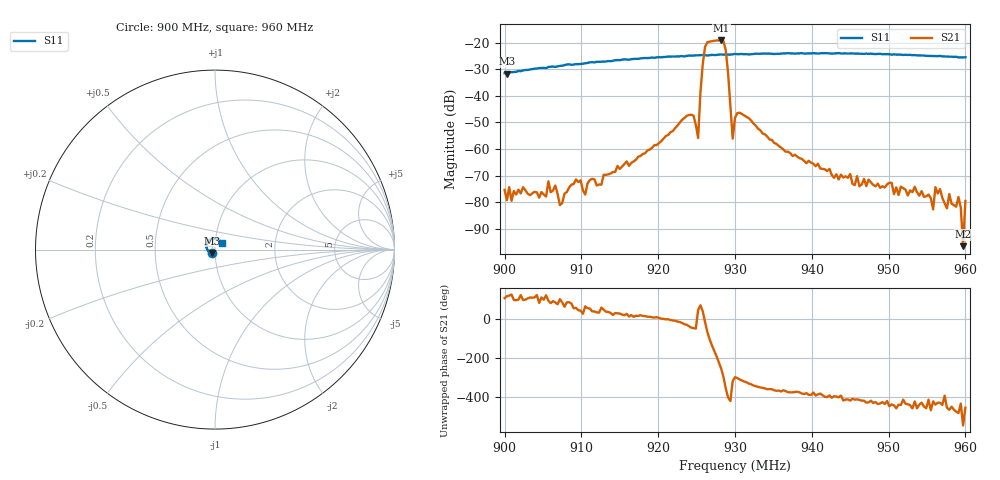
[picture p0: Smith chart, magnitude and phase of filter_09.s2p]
!File created by NanoVNA-F V2
# Hz S RI R 50
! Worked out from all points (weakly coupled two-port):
!   201 points, 900 MHz to 960 MHz, reference 50 ohm
!   highest |S21| = -19.19 dB at 928.2 MHz (marker M1); lowest = -96.5 dB at 959.7 MHz (marker M2)
!   lowest |S11| = -31.6 dB at 900.3 MHz (marker M3), VSWR 1.05, Z = 48.2 - j1.87 ohm
!   |S11| at or under -10 dB: start of sweep to end of sweep
!   S12 and S22 are empty: the file has one direction only
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9e8  -0.0172 -0.0203  -5.6e-05 0.000162  0 0  0 0
9.003e8  -0.0176 -0.0194  -5.3e-05 9.6e-05  0 0  0 0
9.006e8  -0.0192 -0.0197  -0.000102 0.000164  0 0  0 0
9.009e8  -0.0199 -0.0193  -6.5e-05 8.5e-05  0 0  0 0
9.054e8  -0.0303 -0.0134  -7.1e-05 0.000107  0 0  0 0
9.057e8  -0.0322 -0.0135  -2.6e-05 0.000247  0 0  0 0
9.072e8  -0.0348 -0.0104  -2.1e-05 8.6e-05  0 0  0 0
9.093e8  -0.0389 -0.00619  0.000137 0.000232  0 0  0 0
9.102e8  -0.0402 -0.00294  0.000146 8.1e-05  0 0  0 0
9.201e8  -0.0475 0.0239  0.00129 0.000167  0 0  0 0
9.243e8  -0.0446 0.0355  0.0033 -0.00295  0 0  0 0
9.252e8  -0.0431 0.0385  0.00108 0.0012  0 0  0 0
9.255e8  -0.0435 0.0383  0.00356 0.0112  0 0  0 0
9.261e8  -0.0424 0.0396  0.0809 -0.0194  0 0  0 0
9.282e8  -0.0392 0.0452  -0.0331 0.1046  0 0  0 0
9.288e8  -0.0375 0.0463  0.0715 0.00662  0 0  0 0
9.297e8  -0.0356 0.0486  0.00113 0.00109  0 0  0 0
9.3e8  -0.0362 0.0496  0.0017 0.00345  0 0  0 0
9.402e8  -0.0105 0.0625  0.000514 -0.000136  0 0  0 0
9.501e8  0.0192 0.0573  1.9e-05 -0.000233  0 0  0 0
9.597e8  0.0378 0.0372  -1.5e-05 1e-06  0 0  0 0
9.6e8  0.039 0.0359  -5e-06 -0.000106  0 0  0 0
